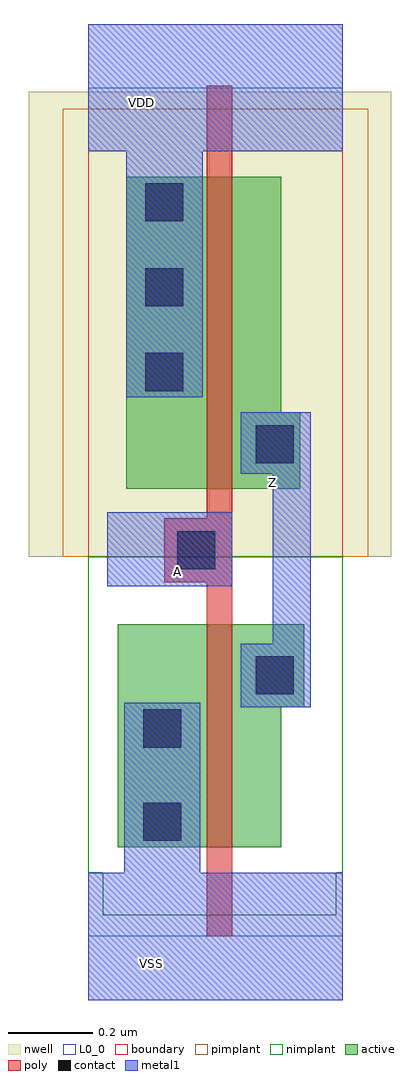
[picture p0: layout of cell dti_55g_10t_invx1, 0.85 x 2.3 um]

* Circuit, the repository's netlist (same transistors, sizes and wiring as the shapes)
*##########################################################################################
* Copyright (c) 2023 Dolphin Technology, Inc.
* This netlist is proprietary and confidential information of
* Dolphin Technology, Inc. and can only be used or viewed
* under license or with written permission from Dolphin Technology, Inc.
*##########################################################################################
* /data/projects/stdcells/scripts_svn_update_flow/Update_property_flow/lvsNetlist.pl -c dti_55g_10t_invx1 -p /data/projects/stdcells/scripts_svn_update_flow/Update_property_flow/params/params55.sp -s netlist -d lvs -nglob
* dt35-linux:/data/projects/stdcells/REPOSITORY_RV003/ckt/tsmc55 
* dti_55g_10t_invx1.ckt generated on 6/2/2023 at 18:35:53
*##########################################################################################
* Dependencies
*##########################################################################################

.param wnd=1u wpd=1u

.option scale=1

.global vdd vss vddps vddcs
* DAMN, don't know where the cell is 
.subckt dti_55g_10t_invx1 VDD VSS Z A
mn1 Z A VSS VSS nch l=0.06u w=0.525u
mp1 Z A VDD VDD pch l=0.06u w=0.735u
.ends

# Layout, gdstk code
from math import pi, radians
import gdstk
lib = gdstk.Library(unit=1e-6, precision=1e-09)
def R(c, l, rs):  # rectangles x0, y0, x1, y1
    for r in rs: c.add(gdstk.rectangle(r[:2], r[2:], *l))
def P(c, l, *ps):  # polygons
    for p in ps: c.add(gdstk.Polygon(p, *l))
L0_0 = (0, 0)
nwell = (3, 0)
active = (6, 0)
poly = (17, 0)
pimplant = (25, 0)
nimplant = (26, 0)
contact = (30, 0)
metal1 = (31, 0)
boundary = (108, 0)
L923_0 = (923, 0)

template_55g_10t = lib.new_cell('template_55g_10t')
R(template_55g_10t, metal1, [(0,-0.15,0.2,0.15), (0,1.85,0.2,2.15)])
template_55g_10t.add(gdstk.FlexPath([(0.2,0.21),(0,0.21)], 0, ends="flush", simple_path=True, layer=923, datatype=0))  # L923_0
template_55g_10t.add(gdstk.FlexPath([(0.2,0.735),(0,0.735)], 0, ends="flush", simple_path=True, layer=923, datatype=0))  # L923_0
template_55g_10t.add(gdstk.FlexPath([(0.2,0.895),(0,0.895)], 0, ends="flush", simple_path=True, layer=923, datatype=0))  # L923_0
template_55g_10t.add(gdstk.FlexPath([(0.2,1.055),(0,1.055)], 0, ends="flush", simple_path=True, layer=923, datatype=0))  # L923_0
template_55g_10t.add(gdstk.FlexPath([(0.2,1.79),(0,1.79)], 0, ends="flush", simple_path=True, layer=923, datatype=0))  # L923_0

cellgrid_nom2 = lib.new_cell('cellgrid_noM2')
R(cellgrid_nom2, L0_0, [(0,0,0.2,0.2)])
cellgrid_nom2.add(gdstk.FlexPath([(0.2,0),(0,0.2)], 0, ends="flush", simple_path=True, layer=0, datatype=0))  # L0_0
cellgrid_nom2.add(gdstk.FlexPath([(0.2,0.2),(0,0)], 0, ends="flush", simple_path=True, layer=0, datatype=0))  # L0_0

pmos_735_n_2 = lib.new_cell('pmos_735_n_2')
R(pmos_735_n_2, nwell, [(-0.275,-0.16,0.335,0.895)])
R(pmos_735_n_2, active, [(-0.115,0,0.175,0.735)])
R(pmos_735_n_2, poly, [(0,-0.14,0.06,0.875)])
R(pmos_735_n_2, pimplant, [(-0.245,-0.16,0.305,0.895)])

cnt_n = lib.new_cell('cnt_n')
R(cnt_n, active, [(-0.06,-0.075,0.06,0.075)])
R(cnt_n, contact, [(-0.045,-0.045,0.045,0.045)])
R(cnt_n, metal1, [(-0.045,-0.045,0.045,0.045)])

cnt = lib.new_cell('cnt')
R(cnt, contact, [(-0.045,-0.045,0.045,0.045)])
R(cnt, metal1, [(-0.045,-0.045,0.045,0.045)])

pcnt = lib.new_cell('pcnt')
R(pcnt, L0_0, [(-0.065,-0.065,0.065,0.065)])
R(pcnt, poly, [(-0.075,-0.075,0.075,0.075)])
pcnt.add(gdstk.Reference(cnt, (0,0)))

nmos_525_n_2 = lib.new_cell('nmos_525_n_2')
R(nmos_525_n_2, active, [(-0.115,0,0.175,0.525)])
R(nmos_525_n_2, poly, [(0,-0.14,0.06,0.665)])
R(nmos_525_n_2, nimplant, [(-0.245,-0.16,0.305,0.685)])

dti_55g_10t_invx1 = lib.new_cell('dti_55g_10t_invx1')
R(dti_55g_10t_invx1, nwell, [(-0.14,0.895,0.715,1.99)])
R(dti_55g_10t_invx1, active, [(0.07,0.21,0.225,0.735), (0.455,0.54,0.51,0.735), (0.09,1.055,0.24,1.79), (0.455,1.055,0.5,1.235)])
P(dti_55g_10t_invx1, active, [(0.465,1.125),(0.465,1.125),(0.495,1.125),(0.495,1.125)])
R(dti_55g_10t_invx1, poly, [(0.28,0,0.34,0.07), (0.28,0.875,0.34,0.915), (0.28,1.93,0.34,2.005)])
R(dti_55g_10t_invx1, pimplant, [(-0.06,0.895,0.66,1.95), (0,0.895,0.6,1.95)])
R(dti_55g_10t_invx1, nimplant, [(0,0.15,0.6,0.895)])
R(dti_55g_10t_invx1, metal1, [(0.085,0.15,0.265,0.55), (0.36,0.54,0.525,0.69), (0.435,0.66,0.525,1.105), (0.045,0.825,0.34,1), (0.36,1.09,0.525,1.235), (0.09,1.27,0.27,1.85)])
R(dti_55g_10t_invx1, boundary, [(0,-0.15,0.6,2.15)])
r = gdstk.Reference(template_55g_10t, (0,0)); r.repetition = gdstk.Repetition(3, 1, v1=(0.2,0), v2=(0,0)); dti_55g_10t_invx1.add(r)
r = gdstk.Reference(cellgrid_nom2, (0,0)); r.repetition = gdstk.Repetition(3, 10, v1=(0.2,0), v2=(0,0.2)); dti_55g_10t_invx1.add(r)
dti_55g_10t_invx1.add(gdstk.Reference(pmos_735_n_2, (0.28,1.055)))
dti_55g_10t_invx1.add(gdstk.Reference(cnt_n, (0.18,1.73), rotation=pi/2))
dti_55g_10t_invx1.add(gdstk.Reference(cnt_n, (0.44,1.16), rotation=pi))
dti_55g_10t_invx1.add(gdstk.Reference(cnt_n, (0.18,1.53)))
dti_55g_10t_invx1.add(gdstk.Reference(cnt_n, (0.175,0.27), rotation=pi/2))
dti_55g_10t_invx1.add(gdstk.Reference(cnt_n, (0.175,0.49), rotation=pi/2))
dti_55g_10t_invx1.add(gdstk.Reference(cnt_n, (0.44,0.615), rotation=pi))
dti_55g_10t_invx1.add(gdstk.Reference(cnt_n, (0.18,1.33), rotation=3*pi/2))
dti_55g_10t_invx1.add(gdstk.Reference(pcnt, (0.255,0.91)))
dti_55g_10t_invx1.add(gdstk.Reference(nmos_525_n_2, (0.28,0.21)))
dti_55g_10t_invx1.add(gdstk.Label('VDD', (0.125,1.965), layer=131, texttype=0))
dti_55g_10t_invx1.add(gdstk.Label('VSS', (0.15,-0.065), layer=131, texttype=0))
dti_55g_10t_invx1.add(gdstk.Label('A', (0.21,0.86), layer=131, texttype=0))
dti_55g_10t_invx1.add(gdstk.Label('Z', (0.435,1.07), layer=131, texttype=0))

lib.write_gds('dti_55g_10t_invx1.gds')
